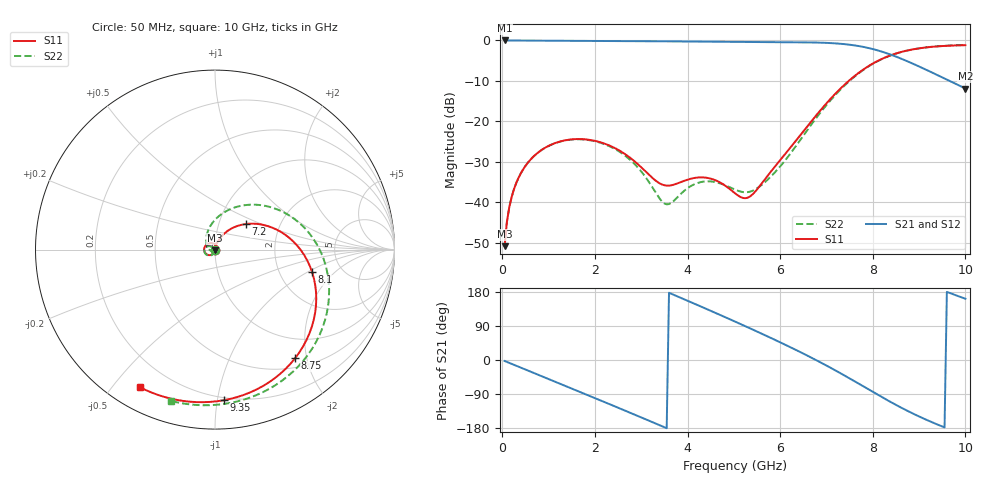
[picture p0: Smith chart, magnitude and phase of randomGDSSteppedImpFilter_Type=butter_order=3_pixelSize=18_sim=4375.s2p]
! freq	dB(S11)	phase(S11)	dB(S12)	phase(S12)
!  dB(S21)	phase(S21)	dB(S22)	phase(S22)
!S-par simulation data
#  GHz  S  DB  R 50
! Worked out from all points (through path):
!   200 points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, 50 MHz to 10 GHz, reference 50 ohm
!   highest |S21| = 0.00 dB at 50 MHz (marker M1); lowest = -11.9 dB at 10 GHz (marker M2)
!   group delay of S21, straight-line fit = 158 ps
!   lowest |S11| = -50.9 dB at 50 MHz (marker M3), VSWR 1.01, Z = 50 - j0.286 ohm
!   |S11| at or under -10 dB: start of sweep to 7.482 GHz
!   |S22| runs from -50.9 to -1.1 dB; largest |S21 - S12| = 0
!   S11 on the Smith chart (normalised r, x): 50 MHz: 1.00, -0.01; 7.2 GHz: 1.34, +0.40; 8.1 GHz: 3.05, -1.12; 8.75 GHz: 0.65, -1.80; 9.35 GHz: 0.18, -1.04; 10 GHz: 0.09, -0.59
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0.05  -50.86 -91.1  -0.00 -2.6  -0.00 -2.6  -50.85 -90.8
0.1  -44.82 -94.2  -0.01 -5.1  -0.01 -5.1  -44.82 -93.7
0.2  -38.78 -99.7  -0.02 -10.1  -0.02 -10.1  -38.78 -98.7
0.5  -31.01 -116.3  -0.03 -25.2  -0.03 -25.2  -31.01 -113.8
1.15  -25.33 -152.3  -0.08 -57.8  -0.08 -57.8  -25.35 -145.8
1.75  -24.41 173.8  -0.11 -87.9  -0.11 -87.9  -24.48 -173.9
2.65  -28.09 115.2  -0.16 -133.5  -0.16 -133.5  -28.47 149.3
3.4  -35.34 26.7  -0.21 -172.2  -0.21 -172.2  -39.13 158.5
3.6  -35.88 -8.8  -0.23 177.4  -0.23 177.4  -40.45 -170.9
4.15  -33.99 -79.9  -0.27 148.5  -0.27 148.5  -35.54 -144.5
5.05  -38.00 -170.2  -0.33 100.1  -0.33 100.1  -36.99 -154.0
5.35  -38.56 133.9  -0.35 83.6  -0.35 83.6  -37.38 -145.9
5.8  -32.42 83.0  -0.38 58.2  -0.38 58.2  -33.64 -155.2
6.3  -25.36 68.7  -0.42 29.0  -0.42 29.0  -26.74 157.2
6.7  -19.61 59.7  -0.49 4.6  -0.49 4.6  -20.37 118.2
7.2  -13.07 39.8  -0.73 -27.9  -0.73 -27.9  -13.37 76.0
7.65  -8.41 15.1  -1.30 -59.1  -1.30 -59.1  -8.54 40.5
8.1  -5.10 -13.2  -2.44 -91.1  -2.44 -91.1  -5.15 6.0
8.35  -3.82 -29.1  -3.35 -108.4  -3.35 -108.4  -3.85 -12.2
8.75  -2.48 -53.6  -5.16 -134.3  -5.16 -134.3  -2.48 -39.2
9.35  -1.51 -86.7  -8.31 -167.9  -8.31 -167.9  -1.48 -74.1
10  -1.17 -118.5  -11.88 161.7  -11.88 161.7  -1.13 -106.2
